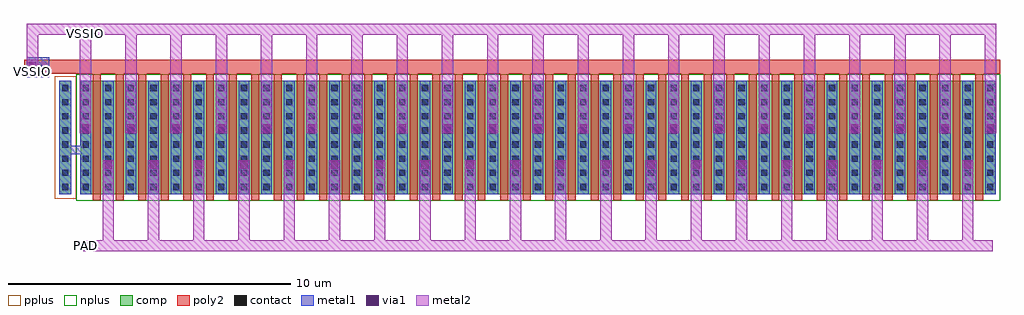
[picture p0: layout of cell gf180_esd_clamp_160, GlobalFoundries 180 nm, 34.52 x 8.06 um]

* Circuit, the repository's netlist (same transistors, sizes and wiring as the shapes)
* Extracted by KLayout with GF180MCU LVS runset on : 18/11/2026 02:19

* cell gf180_esd_clamp_160
.SUBCKT gf180_esd_clamp_160
* device instance $1 r0 *1 0.58,2 nfet_03v3
M$1 PAD VSSIO VSSIO VSSIO nfet_03v3 L=0.28U W=160U AS=42.32P AD=42.32P
+ PS=185.16U PD=185.16U
.ENDS gf180_esd_clamp_160

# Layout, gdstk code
import gdstk
lib = gdstk.Library(unit=1e-6, precision=1e-09)
def R(c, l, rs):  # rectangles x0, y0, x1, y1
    for r in rs: c.add(gdstk.rectangle(r[:2], r[2:], *l))
def A(c, l, x, y, w, h, nx, ny, dx, dy):  # array of equal rectangles
    R(c, l, [(x+i*dx, y+j*dy, x+i*dx+w, y+j*dy+h) for i in range(nx) for j in range(ny)])
comp = (22, 0)
poly2 = (30, 0)
pplus = (31, 0)
nplus = (32, 0)
contact = (33, 0)
metal1 = (34, 0)
via1 = (35, 0)
metal2 = (36, 0)

nfet = lib.new_cell('nfet')
R(nfet, comp, [(-0.76,0,-0.32,4), (0,0,32.36,4)])
A(nfet, poly2, 0.44, -0.22, 0.28, 4.44, 40, 1, 0.8, 0)
R(nfet, pplus, [(-0.92,-0.16,-0.16,4.16)])
R(nfet, nplus, [(-0.16,-0.23,32.52,4.23)])
A(nfet, contact, -0.65, 0.14, 0.22, 0.22, 1, 8, 0, 0.5)
A(nfet, contact, 0.07, 0.14, 0.22, 0.22, 41, 8, 0.8, 0.5)
A(nfet, metal1, -0.01, -0.01, 0.38, 4.02, 41, 1, 0.8, 0)
R(nfet, metal1, [(-0.76,0,-0.32,4)])

gf180_esd_clamp_160 = lib.new_cell('gf180_esd_clamp_160')
A(gf180_esd_clamp_160, poly2, 0.44, 3.97, 0.28, 0.38, 40, 1, 0.8, 0)
R(gf180_esd_clamp_160, poly2, [(-2,4.25,32.52,4.75)])
R(gf180_esd_clamp_160, contact, [(-1.6,4.33,-1.38,4.55)])
R(gf180_esd_clamp_160, metal1, [(-0.76,1.4,0.37,1.7), (-1.9,4.13,-1.1,4.83)])
A(gf180_esd_clamp_160, via1, 0.85, 0.9, 0.26, 0.26, 20, 1, 1.6, 0)
A(gf180_esd_clamp_160, via1, 0.05, 2.2, 0.26, 0.26, 21, 1, 1.6, 0)
R(gf180_esd_clamp_160, via1, [(-1.83,4.4,-1.57,4.66)])
A(gf180_esd_clamp_160, metal2, 0.78, -2.03, 0.4, 3.23, 20, 1, 1.6, 0)
A(gf180_esd_clamp_160, metal2, -0.02, 2.15, 0.4, 3.88, 21, 1, 1.6, 0)
R(gf180_esd_clamp_160, metal2, [(0.09,-2.03,32.27,-1.63), (-1.9,4.33,-1.5,6.03), (-1.9,5.63,32.27,6.03)])
gf180_esd_clamp_160.add(gdstk.Reference(nfet, (0,0)))
gf180_esd_clamp_160.add(gdstk.Label('VSSIO', (-1.7,4.33), layer=34, texttype=10))
gf180_esd_clamp_160.add(gdstk.Label('VSSIO', (0.19,5.68), layer=36, texttype=10))
gf180_esd_clamp_160.add(gdstk.Label('PAD', (0.19,-1.83), layer=36, texttype=10))

lib.write_gds('gf180_esd_clamp_160.gds')
